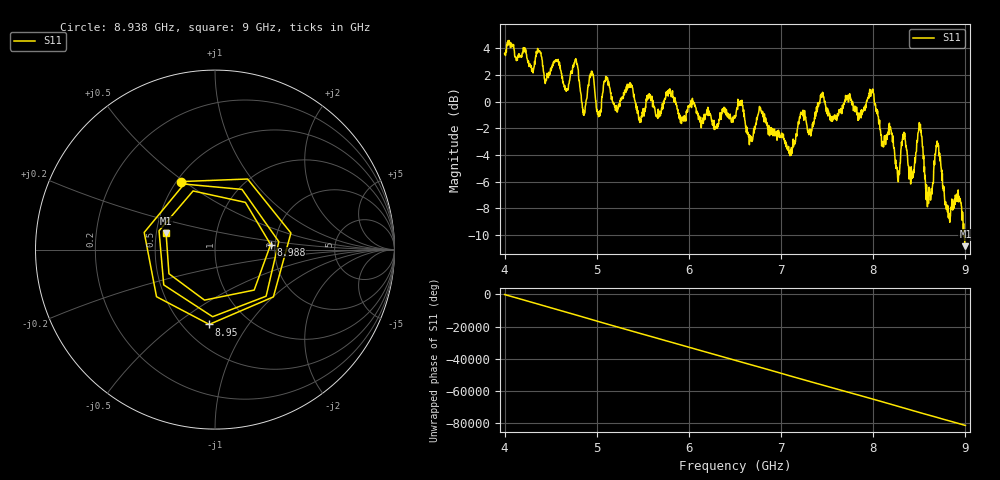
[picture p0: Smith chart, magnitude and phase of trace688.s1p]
! Created with skrf 1.8.0 (http://scikit-rf.org).
# Hz S RI R 50.0
!freq ReS11 ImS11
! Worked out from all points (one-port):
!   1601 points, 4 GHz to 9 GHz, reference 50 ohm
!   lowest |S11| = -10.8 dB at 9 GHz (marker M1), VSWR 1.80, Z = 28.2 + j5.52 ohm
!   |S11| at or under -10 dB: 8.983709 GHz to end of sweep
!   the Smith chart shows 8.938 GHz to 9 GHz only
!   S11 on the Smith chart (normalised r, x): 8.938 GHz: 0.53, +0.49; 8.95 GHz: 0.67, -0.67; 8.988 GHz: 1.89, +0.12; 9 GHz: 0.56, +0.11
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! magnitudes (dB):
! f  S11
! 4 GHz  3.6
! 4.625 GHz  1.9
! 4.775 GHz  3.1
! 4.859 GHz  -0.7
! 4.944 GHz  2.2
! 5.019 GHz  -1.1
! 5.097 GHz  1.9
! 5.25 GHz  -0.4
! 5.875 GHz  -0.5
! 6.5 GHz  -1.2
! 7.125 GHz  -3.5
! 7.441 GHz  0.3
! 7.556 GHz  -1.5
! 7.75 GHz  0.3
! 7.85 GHz  -0.9
! 7.981 GHz  0.7
! 8.262 GHz  -5.4
! 8.325 GHz  -2.4
! 8.375 GHz  -4.6
! 8.422 GHz  -5.8
! 8.506 GHz  -1.9
! 8.597 GHz  -7.0
! 8.697 GHz  -3.4
! 8.812 GHz  -8.6
! 8.938 GHz  -7.5
! 8.95 GHz  -7.6
! 8.988 GHz  -10.1
! 9 GHz  -10.8
